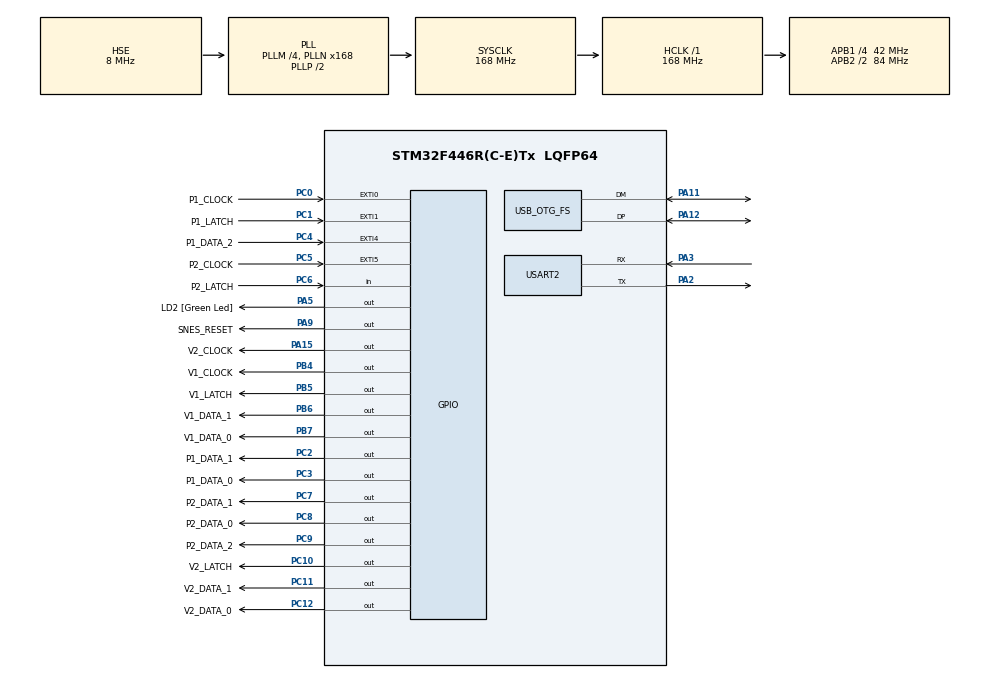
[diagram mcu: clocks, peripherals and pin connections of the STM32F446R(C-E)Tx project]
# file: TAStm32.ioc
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Mcu.Family=STM32F4
Mcu.Name=STM32F446R(C-E)Tx
Mcu.Package=LQFP64
NVIC.EXTI0_IRQn=true\:0\:0\:true\:false\:true\:true\:true
NVIC.EXTI1_IRQn=true\:1\:0\:true\:false\:true\:true\:true
NVIC.EXTI4_IRQn=true\:0\:0\:false\:false\:true\:true\:true
NVIC.EXTI9_5_IRQn=true\:0\:0\:true\:false\:true\:true\:true
NVIC.OTG_FS_IRQn=true\:3\:0\:true\:false\:true\:true\:true
NVIC.PriorityGroup=NVIC_PRIORITYGROUP_4
NVIC.TIM3_IRQn=true\:2\:0\:true\:false\:true\:true\:true
NVIC.TIM6_DAC_IRQn=true\:0\:0\:true\:false\:true\:true\:true
NVIC.TIM7_IRQn=true\:0\:0\:true\:false\:true\:true\:true
NVIC.USART2_IRQn=true\:3\:0\:true\:false\:true\:true\:true
PA11.Mode=Device_Only
PA11.Signal=USB_OTG_FS_DM
PA12.Mode=Device_Only
PA12.Signal=USB_OTG_FS_DP
PA13.GPIO_Label=TMS
PA13.Mode=Serial_Wire
PA13.Signal=SYS_JTMS-SWDIO
PA14.GPIO_Label=TCK
PA14.Mode=Serial_Wire
PA14.Signal=SYS_JTCK-SWCLK
PA15.GPIO_Label=V2_CLOCK
PA15.GPIO_Speed=GPIO_SPEED_FREQ_VERY_HIGH
PA15.PinState=GPIO_PIN_RESET
PA15.Signal=GPIO_Output
PA2.Mode=Asynchronous
PA2.Signal=USART2_TX
PA3.Mode=Asynchronous
PA3.Signal=USART2_RX
PA5.GPIO_Label=LD2 [Green Led]
PA5.PinState=GPIO_PIN_RESET
PA5.Signal=GPIO_Output
PA9.GPIO_Label=SNES_RESET
PA9.GPIO_ModeDefaultOutputPP=GPIO_MODE_OUTPUT_OD
PA9.GPIO_PuPd=GPIO_NOPULL
PA9.GPIO_Speed=GPIO_SPEED_FREQ_VERY_HIGH
PA9.PinState=GPIO_PIN_SET
PA9.Signal=GPIO_Output
PB3.GPIO_Label=SWO
PB3.Signal=SYS_JTDO-SWO
PB4.GPIO_Label=V1_CLOCK
PB4.GPIO_Speed=GPIO_SPEED_FREQ_VERY_HIGH
PB4.PinState=GPIO_PIN_RESET
PB4.Signal=GPIO_Output
PB5.GPIO_Label=V1_LATCH
PB5.GPIO_Speed=GPIO_SPEED_FREQ_VERY_HIGH
PB5.Signal=GPIO_Output
PB6.GPIO_Label=V1_DATA_1
PB6.GPIO_Speed=GPIO_SPEED_FREQ_VERY_HIGH
PB6.PinState=GPIO_PIN_RESET
PB6.Signal=GPIO_Output
PB7.GPIO_Label=V1_DATA_0
PB7.GPIO_Speed=GPIO_SPEED_FREQ_VERY_HIGH
PB7.PinState=GPIO_PIN_RESET
PB7.Signal=GPIO_Output
PC0.GPIO_Label=P1_CLOCK
PC0.Signal=GPXTI0
PC1.GPIO_Label=P1_LATCH
PC1.Signal=GPXTI1
PC10.GPIO_Label=V2_LATCH
PC10.GPIO_Speed=GPIO_SPEED_FREQ_VERY_HIGH
PC10.PinState=GPIO_PIN_RESET
PC10.Signal=GPIO_Output
PC11.GPIO_Label=V2_DATA_1
PC11.GPIO_Speed=GPIO_SPEED_FREQ_VERY_HIGH
PC11.PinState=GPIO_PIN_RESET
PC11.Signal=GPIO_Output
PC12.GPIO_Label=V2_DATA_0
PC12.GPIO_Speed=GPIO_SPEED_FREQ_VERY_HIGH
PC12.PinState=GPIO_PIN_RESET
PC12.Signal=GPIO_Output
PC2.GPIO_Label=P1_DATA_1
PC2.GPIO_ModeDefaultOutputPP=GPIO_MODE_OUTPUT_OD
PC2.GPIO_PuPd=GPIO_PULLUP
PC2.GPIO_Speed=GPIO_SPEED_FREQ_VERY_HIGH
PC2.PinState=GPIO_PIN_RESET
PC2.Signal=GPIO_Output
PC3.GPIO_Label=P1_DATA_0
PC3.GPIO_ModeDefaultOutputPP=GPIO_MODE_OUTPUT_OD
PC3.GPIO_PuPd=GPIO_PULLUP
PC3.GPIO_Speed=GPIO_SPEED_FREQ_VERY_HIGH
PC3.PinState=GPIO_PIN_RESET
PC3.Signal=GPIO_Output
PC4.GPIO_Label=P1_DATA_2
PC4.GPIO_ModeDefaultEXTI=GPIO_MODE_IT_FALLING
PC4.Signal=GPXTI4
PC5.GPIO_Label=P2_CLOCK
PC5.Signal=GPXTI5
PC6.GPIO_Label=P2_LATCH
PC6.Signal=GPIO_Input
PC7.GPIO_Label=P2_DATA_1
PC7.GPIO_ModeDefaultOutputPP=GPIO_MODE_OUTPUT_OD
PC7.GPIO_PuPd=GPIO_PULLUP
PC7.GPIO_Speed=GPIO_SPEED_FREQ_VERY_HIGH
PC7.PinState=GPIO_PIN_RESET
PC7.Signal=GPIO_Output
PC8.GPIO_Label=P2_DATA_0
PC8.GPIO_ModeDefaultOutputPP=GPIO_MODE_OUTPUT_OD
PC8.GPIO_PuPd=GPIO_PULLUP
PC8.GPIO_Speed=GPIO_SPEED_FREQ_VERY_HIGH
PC8.PinState=GPIO_PIN_RESET
PC8.Signal=GPIO_Output
PC9.GPIO_Label=P2_DATA_2
PC9.GPIO_ModeDefaultOutputPP=GPIO_MODE_OUTPUT_OD
PC9.GPIO_PuPd=GPIO_PULLUP
PC9.GPIO_Speed=GPIO_SPEED_FREQ_VERY_HIGH
PC9.PinState=GPIO_PIN_RESET
PC9.Signal=GPIO_Output
PH0-OSC_IN.Mode=HSE-External-Oscillator
PH0-OSC_IN.Signal=RCC_OSC_IN
PH1-OSC_OUT.Mode=HSE-External-Oscillator
PH1-OSC_OUT.Signal=RCC_OSC_OUT
ProjectManager.HeapSize=0x200
ProjectManager.StackSize=0x400
ProjectManager.TargetToolchain=STM32CubeIDE
RCC.48MHZClocksFreq_Value=84000000
RCC.AHBFreq_Value=168000000
RCC.APB1CLKDivider=RCC_HCLK_DIV4
RCC.APB1Freq_Value=42000000
RCC.APB1TimFreq_Value=84000000
RCC.APB2CLKDivider=RCC_HCLK_DIV2
RCC.APB2Freq_Value=84000000
RCC.APB2TimFreq_Value=168000000
RCC.CortexFreq_Value=168000000
RCC.FLatency-AdvancedSettings=FLASH_LATENCY_5
RCC.HCLKFreq_Value=168000000
RCC.HSE_VALUE=8000000
RCC.HSI_VALUE=16000000
RCC.PLLM=4
RCC.PLLN=168
RCC.PLLQ=7
RCC.PLLSourceVirtual=RCC_PLLSOURCE_HSE
RCC.SYSCLKFreq_VALUE=168000000
RCC.SYSCLKSource=RCC_SYSCLKSOURCE_PLLCLK
RCC.USBFreq_Value=48000000
RCC.VCOOutputFreq_Value=336000000
TIM3.Period=500-1
TIM3.Prescaler=840-1
TIM3.TIM_MasterOutputTrigger=TIM_TRGO_RESET
TIM6.Period=4-1
TIM6.Prescaler=21-1
TIM7.Period=4-1
TIM7.Prescaler=21-1
USART2.VirtualMode=VM_ASYNC
USB_DEVICE.CLASS_NAME_FS=CDC
USB_DEVICE.CONFIGURATION_STRING_CDC_FS=Serial Config
USB_DEVICE.INTERFACE_STRING_CDC_FS=Serial Interface
USB_DEVICE.MANUFACTURER_STRING-CDC_FS=Ownasaurus
USB_DEVICE.PID_CDC_FS=0x07A5
USB_DEVICE.PRODUCT_STRING_CDC_FS=TAStm32 Virtual ComPort
USB_DEVICE.VID-CDC_FS=0xB07
USB_DEVICE.VirtualMode-CDC_FS=Cdc
USB_DEVICE.VirtualModeFS=Cdc_FS
USB_OTG_FS.VirtualMode=Device_Only
VP_TIM3_VS_ClockSourceINT.Mode=Internal
VP_TIM6_VS_ClockSourceINT.Mode=Enable_Timer
VP_TIM7_VS_ClockSourceINT.Mode=Enable_Timer
VP_USB_DEVICE_VS_USB_DEVICE_CDC_FS.Mode=CDC_FS
board=NUCLEO-F446RE

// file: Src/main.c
/* USER CODE BEGIN Header */
/**
  ******************************************************************************
  * @file           : main.c
  * @brief          : Main program body
  ******************************************************************************
  ** This notice applies to any and all portions of this file
  * that are not between comment pairs USER CODE BEGIN and
  * USER CODE END. Other portions of this file, whether
  * inserted by the user or by software development tools
  * are owned by their respective copyright owners.
  *
  * COPYRIGHT(c) 2019 STMicroelectronics
  *
  * Redistribution and use in source and binary forms, with or without modification,
  * are permitted provided that the following conditions are met:
  *   1. Redistributions of source code must retain the above copyright notice,
  *      this list of conditions and the following disclaimer.
  *   2. Redistributions in binary form must reproduce the above copyright notice,
  *      this list of conditions and the following disclaimer in the documentation
  *      and/or other materials provided with the distribution.
  *   3. Neither the name of STMicroelectronics nor the names of its contributors
  *      may be used to endorse or promote products derived from this software
  *      without specific prior written permission.
  *
  * THIS SOFTWARE IS PROVIDED BY THE COPYRIGHT HOLDERS AND CONTRIBUTORS "AS IS"
  * AND ANY EXPRESS OR IMPLIED WARRANTIES, INCLUDING, BUT NOT LIMITED TO, THE
  * IMPLIED WARRANTIES OF MERCHANTABILITY AND FITNESS FOR A PARTICULAR PURPOSE ARE
  * DISCLAIMED. IN NO EVENT SHALL THE COPYRIGHT HOLDER OR CONTRIBUTORS BE LIABLE
  * FOR ANY DIRECT, INDIRECT, INCIDENTAL, SPECIAL, EXEMPLARY, OR CONSEQUENTIAL
  * DAMAGES (INCLUDING, BUT NOT LIMITED TO, PROCUREMENT OF SUBSTITUTE GOODS OR
  * SERVICES; LOSS OF USE, DATA, OR PROFITS; OR BUSINESS INTERRUPTION) HOWEVER
  * CAUSED AND ON ANY THEORY OF LIABILITY, WHETHER IN CONTRACT, STRICT LIABILITY,
  * OR TORT (INCLUDING NEGLIGENCE OR OTHERWISE) ARISING IN ANY WAY OUT OF THE USE
  * OF THIS SOFTWARE, EVEN IF ADVISED OF THE POSSIBILITY OF SUCH DAMAGE.
  *
  ******************************************************************************
  */
/* USER CODE END Header */

#include "main.h"
#include "usb_device.h"

/* USER CODE BEGIN Includes */
#include <string.h>
#include "usbd_cdc_if.h"
#include "n64.h"
#include "TASRun.h"
#include "stm32f4xx_it.h"
#include "serial_interface.h"
/* USER CODE END Includes */

TIM_HandleTypeDef htim3;
TIM_HandleTypeDef htim6;
TIM_HandleTypeDef htim7;

UART_HandleTypeDef huart2;

/* USER CODE BEGIN PV */
extern volatile uint8_t toggleNext;
extern volatile uint8_t clockFix;
extern volatile uint8_t request_pending;
volatile uint8_t jumpToDFU;
/* USER CODE END PV */

void SystemClock_Config(void);
static void MX_GPIO_Init(void);
static void MX_TIM3_Init(void);
static void MX_TIM6_Init(void);
static void MX_TIM7_Init(void);
static void MX_USART2_UART_Init(void);

/* USER CODE BEGIN 0 */
static uint8_t UART2_OutputFunction(uint8_t *buffer, uint16_t n){
	return HAL_UART_Transmit_IT(&huart2, buffer, n);
}

static uint8_t input;
void HAL_UART_RxCpltCallback(UART_HandleTypeDef *huart)
{
  if (huart == &huart2) {
	  serial_interface_set_output_function(UART2_OutputFunction);
	  serial_interface_consume(input);
	  HAL_UART_Receive_IT(&huart2, &input, 1);
  }
}
/* USER CODE END 0 */

int main(void)
{

  /* MCU Configuration--------------------------------------------------------*/

  /* Reset of all peripherals, Initializes the Flash interface and the Systick. */
  HAL_Init();

  /* Configure the system clock */
  SystemClock_Config();

  /* USER CODE BEGIN SysInit */

  serial_interface_reset();
  /* USER CODE END SysInit */

  /* Initialize all configured peripherals */
  MX_GPIO_Init();
  MX_USB_DEVICE_Init();
  MX_TIM3_Init();
  MX_TIM6_Init();
  MX_TIM7_Init();
  MX_USART2_UART_Init();
  /* USER CODE BEGIN 2 */

  // all of the interrupts should be disabled before reaching this point
  // they will be re-enabled based on the console and number of controllers being utilized

  HAL_NVIC_DisableIRQ(EXTI0_IRQn);
  HAL_NVIC_DisableIRQ(EXTI1_IRQn);
  HAL_NVIC_DisableIRQ(EXTI4_IRQn);
  HAL_NVIC_DisableIRQ(EXTI9_5_IRQn);
  jumpToDFU = 0;

  // ensure no buttons are pressed initially
  HAL_GPIO_WritePin(GPIOC, P1_DATA_1_Pin|P1_DATA_0_Pin|P2_DATA_2_Pin|P2_DATA_1_Pin|P2_DATA_0_Pin, GPIO_PIN_SET);

  HAL_UART_Receive_IT(&huart2, &input, 1);
  /* USER CODE END 2 */

  /* Infinite loop */
  while (1)
  {

    /* USER CODE BEGIN 3 */
	  if(jumpToDFU == 1)
	  {
		  JumpToBootLoader();
	  }
  }
  /* USER CODE END 3 */
}

void SystemClock_Config(void)
{
  RCC_OscInitTypeDef RCC_OscInitStruct = {0};
  RCC_ClkInitTypeDef RCC_ClkInitStruct = {0};
  RCC_PeriphCLKInitTypeDef PeriphClkInitStruct = {0};

  /** Configure the main internal regulator output voltage
  */
  __HAL_RCC_PWR_CLK_ENABLE();
  __HAL_PWR_VOLTAGESCALING_CONFIG(PWR_REGULATOR_VOLTAGE_SCALE1);
  /** Initializes the CPU, AHB and APB busses clocks
  */
  RCC_OscInitStruct.OscillatorType = RCC_OSCILLATORTYPE_HSE;
  RCC_OscInitStruct.HSEState = RCC_HSE_ON;
  RCC_OscInitStruct.PLL.PLLState = RCC_PLL_ON;
  RCC_OscInitStruct.PLL.PLLSource = RCC_PLLSOURCE_HSE;
  RCC_OscInitStruct.PLL.PLLM = 4;
  RCC_OscInitStruct.PLL.PLLN = 168;
  RCC_OscInitStruct.PLL.PLLP = RCC_PLLP_DIV2;
  RCC_OscInitStruct.PLL.PLLQ = 7;
  RCC_OscInitStruct.PLL.PLLR = 2;
  if (HAL_RCC_OscConfig(&RCC_OscInitStruct) != HAL_OK)
  {
    Error_Handler();
  }
  /** Initializes the CPU, AHB and APB busses clocks
  */
  RCC_ClkInitStruct.ClockType = RCC_CLOCKTYPE_HCLK|RCC_CLOCKTYPE_SYSCLK
                              |RCC_CLOCKTYPE_PCLK1|RCC_CLOCKTYPE_PCLK2;
  RCC_ClkInitStruct.SYSCLKSource = RCC_SYSCLKSOURCE_PLLCLK;
  RCC_ClkInitStruct.AHBCLKDivider = RCC_SYSCLK_DIV1;
  RCC_ClkInitStruct.APB1CLKDivider = RCC_HCLK_DIV4;
  RCC_ClkInitStruct.APB2CLKDivider = RCC_HCLK_DIV2;

  if (HAL_RCC_ClockConfig(&RCC_ClkInitStruct, FLASH_LATENCY_5) != HAL_OK)
  {
    Error_Handler();
  }
  PeriphClkInitStruct.PeriphClockSelection = RCC_PERIPHCLK_CLK48;
  PeriphClkInitStruct.Clk48ClockSelection = RCC_CLK48CLKSOURCE_PLLQ;
  if (HAL_RCCEx_PeriphCLKConfig(&PeriphClkInitStruct) != HAL_OK)
  {
    Error_Handler();
  }
}

static void MX_TIM3_Init(void)
{

  TIM_ClockConfigTypeDef sClockSourceConfig = {0};
  TIM_MasterConfigTypeDef sMasterConfig = {0};

  htim3.Instance = TIM3;
  htim3.Init.Prescaler = 840-1;
  htim3.Init.CounterMode = TIM_COUNTERMODE_UP;
  htim3.Init.Period = 500-1;
  htim3.Init.ClockDivision = TIM_CLOCKDIVISION_DIV1;
  htim3.Init.AutoReloadPreload = TIM_AUTORELOAD_PRELOAD_DISABLE;
  if (HAL_TIM_Base_Init(&htim3) != HAL_OK)
  {
    Error_Handler();
  }
  sClockSourceConfig.ClockSource = TIM_CLOCKSOURCE_INTERNAL;
  if (HAL_TIM_ConfigClockSource(&htim3, &sClockSourceConfig) != HAL_OK)
  {
    Error_Handler();
  }
  sMasterConfig.MasterOutputTrigger = TIM_TRGO_RESET;
  sMasterConfig.MasterSlaveMode = TIM_MASTERSLAVEMODE_DISABLE;
  if (HAL_TIMEx_MasterConfigSynchronization(&htim3, &sMasterConfig) != HAL_OK)
  {
    Error_Handler();
  }

}

static void MX_TIM6_Init(void)
{

  TIM_MasterConfigTypeDef sMasterConfig = {0};

  htim6.Instance = TIM6;
  htim6.Init.Prescaler = 21-1;
  htim6.Init.CounterMode = TIM_COUNTERMODE_UP;
  htim6.Init.Period = 4-1;
  htim6.Init.AutoReloadPreload = TIM_AUTORELOAD_PRELOAD_DISABLE;
  if (HAL_TIM_Base_Init(&htim6) != HAL_OK)
  {
    Error_Handler();
  }
  sMasterConfig.MasterOutputTrigger = TIM_TRGO_RESET;
  sMasterConfig.MasterSlaveMode = TIM_MASTERSLAVEMODE_DISABLE;
  if (HAL_TIMEx_MasterConfigSynchronization(&htim6, &sMasterConfig) != HAL_OK)
  {
    Error_Handler();
  }

}

static void MX_TIM7_Init(void)
{

  TIM_MasterConfigTypeDef sMasterConfig = {0};

  htim7.Instance = TIM7;
  htim7.Init.Prescaler = 21-1;
  htim7.Init.CounterMode = TIM_COUNTERMODE_UP;
  htim7.Init.Period = 4-1;
  htim7.Init.AutoReloadPreload = TIM_AUTORELOAD_PRELOAD_DISABLE;
  if (HAL_TIM_Base_Init(&htim7) != HAL_OK)
  {
    Error_Handler();
  }
  sMasterConfig.MasterOutputTrigger = TIM_TRGO_RESET;
  sMasterConfig.MasterSlaveMode = TIM_MASTERSLAVEMODE_DISABLE;
  if (HAL_TIMEx_MasterConfigSynchronization(&htim7, &sMasterConfig) != HAL_OK)
  {
    Error_Handler();
  }

}

static void MX_USART2_UART_Init(void)
{

  huart2.Instance = USART2;
  huart2.Init.BaudRate = 115200;
  huart2.Init.WordLength = UART_WORDLENGTH_8B;
  huart2.Init.StopBits = UART_STOPBITS_1;
  huart2.Init.Parity = UART_PARITY_NONE;
  huart2.Init.Mode = UART_MODE_TX_RX;
  huart2.Init.HwFlowCtl = UART_HWCONTROL_NONE;
  huart2.Init.OverSampling = UART_OVERSAMPLING_16;
  if (HAL_UART_Init(&huart2) != HAL_OK)
  {
    Error_Handler();
  }

}

static void MX_GPIO_Init(void)
{
  GPIO_InitTypeDef GPIO_InitStruct = {0};

  /* GPIO Ports Clock Enable */
  __HAL_RCC_GPIOC_CLK_ENABLE();
  __HAL_RCC_GPIOH_CLK_ENABLE();
  __HAL_RCC_GPIOA_CLK_ENABLE();
  __HAL_RCC_GPIOB_CLK_ENABLE();
  __HAL_RCC_GPIOD_CLK_ENABLE();

  /*Configure GPIO pin Output Level */
  HAL_GPIO_WritePin(GPIOC, P1_DATA_1_Pin|P1_DATA_0_Pin|P2_DATA_1_Pin|P2_DATA_0_Pin
                          |P2_DATA_2_Pin|V2_LATCH_Pin|V2_DATA_1_Pin|V2_DATA_0_Pin, GPIO_PIN_RESET);

  /*Configure GPIO pin Output Level */
  HAL_GPIO_WritePin(GPIOA, LD2_Pin|V2_CLOCK_Pin, GPIO_PIN_RESET);

  /*Configure GPIO pin Output Level */
  HAL_GPIO_WritePin(SNES_RESET_GPIO_Port, SNES_RESET_Pin, GPIO_PIN_SET);

  /*Configure GPIO pin Output Level */
  HAL_GPIO_WritePin(GPIOB, V1_CLOCK_Pin|V1_LATCH_Pin|V1_DATA_1_Pin|V1_DATA_0_Pin, GPIO_PIN_RESET);

  /*Configure GPIO pins : PC13 PC14 PC15 */
  GPIO_InitStruct.Pin = GPIO_PIN_13|GPIO_PIN_14|GPIO_PIN_15;
  GPIO_InitStruct.Mode = GPIO_MODE_ANALOG;
  GPIO_InitStruct.Pull = GPIO_NOPULL;
  HAL_GPIO_Init(GPIOC, &GPIO_InitStruct);

  /*Configure GPIO pins : P1_CLOCK_Pin P1_LATCH_Pin P2_CLOCK_Pin */
  GPIO_InitStruct.Pin = P1_CLOCK_Pin|P1_LATCH_Pin|P2_CLOCK_Pin;
  GPIO_InitStruct.Mode = GPIO_MODE_IT_RISING;
  GPIO_InitStruct.Pull = GPIO_NOPULL;
  HAL_GPIO_Init(GPIOC, &GPIO_InitStruct);

  /*Configure GPIO pins : P1_DATA_1_Pin P1_DATA_0_Pin P2_DATA_1_Pin P2_DATA_0_Pin
                           P2_DATA_2_Pin */
  GPIO_InitStruct.Pin = P1_DATA_1_Pin|P1_DATA_0_Pin|P2_DATA_1_Pin|P2_DATA_0_Pin
                          |P2_DATA_2_Pin;
  GPIO_InitStruct.Mode = GPIO_MODE_OUTPUT_OD;
  GPIO_InitStruct.Pull = GPIO_PULLUP;
  GPIO_InitStruct.Speed = GPIO_SPEED_FREQ_VERY_HIGH;
  HAL_GPIO_Init(GPIOC, &GPIO_InitStruct);

  /*Configure GPIO pins : PA0 PA1 PA4 PA6
                           PA7 PA8 PA10 */
  GPIO_InitStruct.Pin = GPIO_PIN_0|GPIO_PIN_1|GPIO_PIN_4|GPIO_PIN_6
                          |GPIO_PIN_7|GPIO_PIN_8|GPIO_PIN_10;
  GPIO_InitStruct.Mode = GPIO_MODE_ANALOG;
  GPIO_InitStruct.Pull = GPIO_NOPULL;
  HAL_GPIO_Init(GPIOA, &GPIO_InitStruct);

  /*Configure GPIO pin : LD2_Pin */
  GPIO_InitStruct.Pin = LD2_Pin;
  GPIO_InitStruct.Mode = GPIO_MODE_OUTPUT_PP;
  GPIO_InitStruct.Pull = GPIO_NOPULL;
  GPIO_InitStruct.Speed = GPIO_SPEED_FREQ_LOW;
  HAL_GPIO_Init(LD2_GPIO_Port, &GPIO_InitStruct);

  /*Configure GPIO pin : P1_DATA_2_Pin */
  GPIO_InitStruct.Pin = P1_DATA_2_Pin;
  GPIO_InitStruct.Mode = GPIO_MODE_IT_FALLING;
  GPIO_InitStruct.Pull = GPIO_NOPULL;
  HAL_GPIO_Init(P1_DATA_2_GPIO_Port, &GPIO_InitStruct);

  /*Configure GPIO pins : PB0 PB1 PB2 PB10
                           PB12 PB13 PB14 PB15
                           PB8 PB9 */
  GPIO_InitStruct.Pin = GPIO_PIN_0|GPIO_PIN_1|GPIO_PIN_2|GPIO_PIN_10
                          |GPIO_PIN_12|GPIO_PIN_13|GPIO_PIN_14|GPIO_PIN_15
                          |GPIO_PIN_8|GPIO_PIN_9;
  GPIO_InitStruct.Mode = GPIO_MODE_ANALOG;
  GPIO_InitStruct.Pull = GPIO_NOPULL;
  HAL_GPIO_Init(GPIOB, &GPIO_InitStruct);

  /*Configure GPIO pin : P2_LATCH_Pin */
  GPIO_InitStruct.Pin = P2_LATCH_Pin;
  GPIO_InitStruct.Mode = GPIO_MODE_INPUT;
  GPIO_InitStruct.Pull = GPIO_NOPULL;
  HAL_GPIO_Init(P2_LATCH_GPIO_Port, &GPIO_InitStruct);

  /*Configure GPIO pin : SNES_RESET_Pin */
  GPIO_InitStruct.Pin = SNES_RESET_Pin;
  GPIO_InitStruct.Mode = GPIO_MODE_OUTPUT_OD;
  GPIO_InitStruct.Pull = GPIO_NOPULL;
  GPIO_InitStruct.Speed = GPIO_SPEED_FREQ_VERY_HIGH;
  HAL_GPIO_Init(SNES_RESET_GPIO_Port, &GPIO_InitStruct);

  /*Configure GPIO pin : V2_CLOCK_Pin */
  GPIO_InitStruct.Pin = V2_CLOCK_Pin;
  GPIO_InitStruct.Mode = GPIO_MODE_OUTPUT_PP;
  GPIO_InitStruct.Pull = GPIO_NOPULL;
  GPIO_InitStruct.Speed = GPIO_SPEED_FREQ_VERY_HIGH;
  HAL_GPIO_Init(V2_CLOCK_GPIO_Port, &GPIO_InitStruct);

  /*Configure GPIO pins : V2_LATCH_Pin V2_DATA_1_Pin V2_DATA_0_Pin */
  GPIO_InitStruct.Pin = V2_LATCH_Pin|V2_DATA_1_Pin|V2_DATA_0_Pin;
  GPIO_InitStruct.Mode = GPIO_MODE_OUTPUT_PP;
  GPIO_InitStruct.Pull = GPIO_NOPULL;
  GPIO_InitStruct.Speed = GPIO_SPEED_FREQ_VERY_HIGH;
  HAL_GPIO_Init(GPIOC, &GPIO_InitStruct);

  /*Configure GPIO pin : PD2 */
  GPIO_InitStruct.Pin = GPIO_PIN_2;
  GPIO_InitStruct.Mode = GPIO_MODE_ANALOG;
  GPIO_InitStruct.Pull = GPIO_NOPULL;
  HAL_GPIO_Init(GPIOD, &GPIO_InitStruct);

  /*Configure GPIO pins : V1_CLOCK_Pin V1_LATCH_Pin V1_DATA_1_Pin V1_DATA_0_Pin */
  GPIO_InitStruct.Pin = V1_CLOCK_Pin|V1_LATCH_Pin|V1_DATA_1_Pin|V1_DATA_0_Pin;
  GPIO_InitStruct.Mode = GPIO_MODE_OUTPUT_PP;
  GPIO_InitStruct.Pull = GPIO_NOPULL;
  GPIO_InitStruct.Speed = GPIO_SPEED_FREQ_VERY_HIGH;
  HAL_GPIO_Init(GPIOB, &GPIO_InitStruct);

  /* EXTI interrupt init*/
  HAL_NVIC_SetPriority(EXTI0_IRQn, 0, 0);
  HAL_NVIC_EnableIRQ(EXTI0_IRQn);

  HAL_NVIC_SetPriority(EXTI1_IRQn, 1, 0);
  HAL_NVIC_EnableIRQ(EXTI1_IRQn);

  HAL_NVIC_SetPriority(EXTI4_IRQn, 0, 0);
  HAL_NVIC_EnableIRQ(EXTI4_IRQn);

  HAL_NVIC_SetPriority(EXTI9_5_IRQn, 0, 0);
  HAL_NVIC_EnableIRQ(EXTI9_5_IRQn);

}

/* USER CODE BEGIN 4 */
void ReInitClockTimers(void)
{

	TIM_MasterConfigTypeDef sMasterConfig = {0};
	sMasterConfig.MasterOutputTrigger = TIM_TRGO_RESET;
	sMasterConfig.MasterSlaveMode = TIM_MASTERSLAVEMODE_DISABLE;

	// re-init tim6
	if (HAL_TIM_Base_Init(&htim6) != HAL_OK)
	{
		Error_Handler();
	}
	if (HAL_TIMEx_MasterConfigSynchronization(&htim6, &sMasterConfig) != HAL_OK)
	{
		Error_Handler();
	}

	// re-init tim7
	if (HAL_TIM_Base_Init(&htim7) != HAL_OK)
	{
		Error_Handler();
	}
	if (HAL_TIMEx_MasterConfigSynchronization(&htim7, &sMasterConfig) != HAL_OK)
	{
		Error_Handler();
	}

}

// Many thanks to Tien Majerle, owner of https://stm32f4-discovery.net/, for help with this function
void JumpToBootLoader(void) {
	void (*SysMemBootJump)(void);

	// De-init USB
	MX_USB_DEVICE_DeInit();

	// Disable all of our interrupts (except systick which will be handled later)
	HAL_NVIC_DisableIRQ(EXTI0_IRQn);
	HAL_NVIC_DisableIRQ(EXTI1_IRQn);
	HAL_NVIC_DisableIRQ(EXTI4_IRQn);
	HAL_NVIC_DisableIRQ(EXTI9_5_IRQn);
	HAL_NVIC_DisableIRQ(OTG_FS_IRQn);
	HAL_NVIC_DisableIRQ(TIM3_IRQn);
	HAL_NVIC_DisableIRQ(TIM6_DAC_IRQn);
	HAL_NVIC_DisableIRQ(TIM7_IRQn);
	HAL_NVIC_DisableIRQ(SysTick_IRQn);

	// De-init timers
	HAL_TIM_Base_DeInit(&htim3);
	HAL_TIM_Base_DeInit(&htim6);
	HAL_TIM_Base_DeInit(&htim7);

	// clear all interrupts
	while (HAL_NVIC_GetPendingIRQ(EXTI0_IRQn))
	{
		__HAL_GPIO_EXTI_CLEAR_IT(P1_CLOCK_Pin);
		HAL_NVIC_ClearPendingIRQ(EXTI0_IRQn);
	}
	while (HAL_NVIC_GetPendingIRQ(EXTI1_IRQn))
	{
		__HAL_GPIO_EXTI_CLEAR_IT(P1_LATCH_Pin);
		HAL_NVIC_ClearPendingIRQ(EXTI1_IRQn);
	}
	while (HAL_NVIC_GetPendingIRQ(EXTI4_IRQn))
	{
		__HAL_GPIO_EXTI_CLEAR_IT(P1_DATA_2_Pin);
		HAL_NVIC_ClearPendingIRQ(EXTI4_IRQn);
	}
	while (HAL_NVIC_GetPendingIRQ(EXTI9_5_IRQn))
	{
		__HAL_GPIO_EXTI_CLEAR_IT(P2_CLOCK_Pin);
		HAL_NVIC_ClearPendingIRQ(EXTI9_5_IRQn);
	}
	while (HAL_NVIC_GetPendingIRQ(TIM3_IRQn))
	{
		HAL_NVIC_ClearPendingIRQ(TIM3_IRQn);
	}
	while (HAL_NVIC_GetPendingIRQ(TIM6_DAC_IRQn))
	{
		HAL_NVIC_ClearPendingIRQ(TIM6_DAC_IRQn);
	}
	while (HAL_NVIC_GetPendingIRQ(TIM7_IRQn))
	{
		HAL_NVIC_ClearPendingIRQ(TIM7_IRQn);
	}
	while (HAL_NVIC_GetPendingIRQ(TIM7_IRQn))
	{
		HAL_NVIC_ClearPendingIRQ(TIM7_IRQn);
	}
	while (HAL_NVIC_GetPendingIRQ(OTG_FS_IRQn))
	{
		HAL_NVIC_ClearPendingIRQ(OTG_FS_IRQn);
	}

	// Prepare to jump
	volatile uint32_t addr = 0x1FFF0000;

	// reset RCC back to default values
	HAL_RCC_DeInit();

	// clear SysTick
	SysTick->CTRL = 0;
	SysTick->LOAD = 0;
	SysTick->VAL = 0;

	// remaps the address of the system memory to 0x00000000
	// necessary for proper transition to bootloader
	SYSCFG->MEMRMP = 0x01;

	// sets destination address of the jump. note it is one word into the bootloader code which is the first instruction
	SysMemBootJump = (void (*)(void)) (*((uint32_t *)(addr + 4)));

	// sets the stack poitner to the first word of the bootloader code
	__set_MSP(*(uint32_t *)addr);

	// jump!
	SysMemBootJump();
}

/* USER CODE END 4 */

void Error_Handler(void)
{
}

/************************ (C) COPYRIGHT STMicroelectronics *****END OF FILE****/
